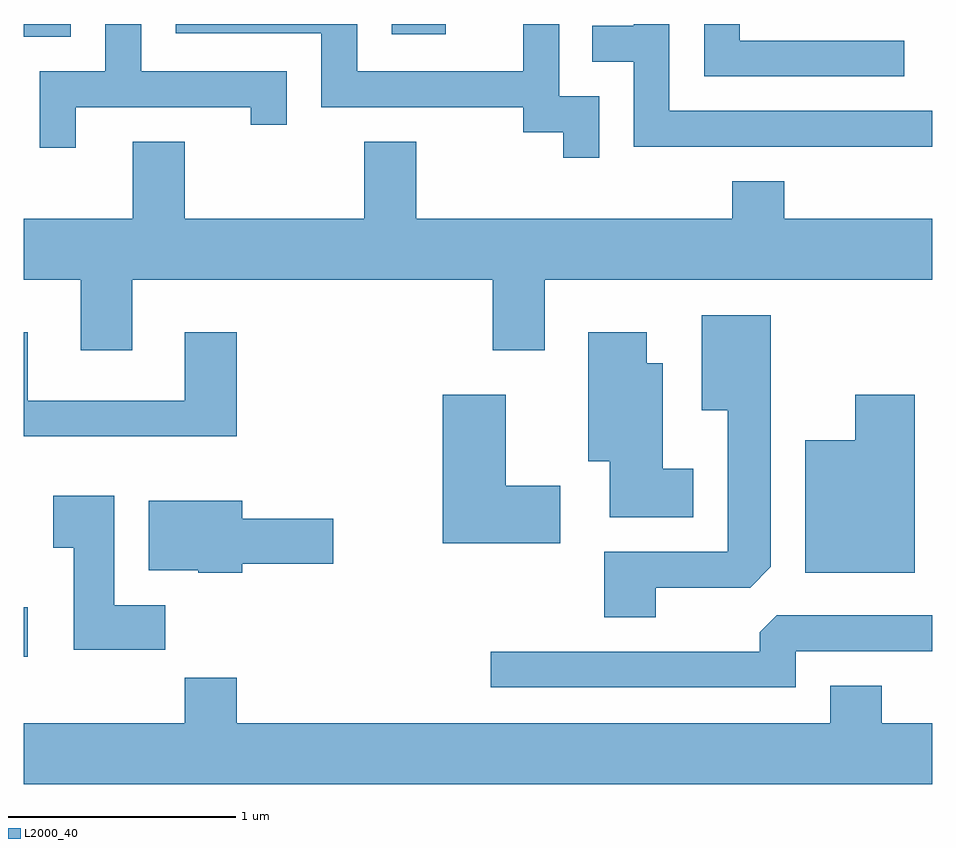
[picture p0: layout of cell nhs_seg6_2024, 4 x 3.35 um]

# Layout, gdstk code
import gdstk
lib = gdstk.Library(unit=1e-6, precision=1e-09)
def R(c, l, rs):  # rectangles x0, y0, x1, y1
    for r in rs: c.add(gdstk.rectangle(r[:2], r[2:], *l))
def P(c, l, *ps):  # polygons
    for p in ps: c.add(gdstk.Polygon(p, *l))
L2000_40 = (2000, 40)

nhs_seg6_2024 = lib.new_cell('nhs_seg6_2024')
R(nhs_seg6_2024, L2000_40, [(245.611,1659.376,245.629,1659.594), (245.611,1662.106,245.819,1662.162), (247.231,1662.116,247.468,1662.162)])
P(nhs_seg6_2024, L2000_40, [(248.144,1661.844),(247.969,1661.844),(247.969,1662.162),(247.811,1662.162),(247.811,1661.954),(247.079,1661.954),(247.079,1662.162),(246.281,1662.162),(246.281,1662.121),(246.921,1662.121),(246.921,1661.796),(247.811,1661.796),(247.811,1661.686),(247.986,1661.686),(247.986,1661.573),(248.144,1661.573)],
  [(249.488,1662.089),(248.764,1662.089),(248.764,1662.162),(248.606,1662.162),(248.606,1661.931),(249.488,1661.931)],
  [(245.839,1661.796),(246.611,1661.796),(246.611,1661.718),(246.769,1661.718),(246.769,1661.954),(246.129,1661.954),(246.129,1662.162),(245.971,1662.162),(245.971,1661.954),(245.681,1661.954),(245.681,1661.618),(245.839,1661.618)],
  [(249.611,1661.779),(248.454,1661.779),(248.454,1662.162),(248.296,1662.162),(248.296,1662.154),(248.113,1662.154),(248.113,1661.996),(248.296,1661.996),(248.296,1661.621),(249.611,1661.621)],
  [(246.089,1661.036),(247.676,1661.036),(247.676,1660.726),(247.904,1660.726),(247.904,1661.036),(249.611,1661.036),(249.611,1661.304),(248.959,1661.304),(248.959,1661.469),(248.731,1661.469),(248.731,1661.304),(247.339,1661.304),(247.339,1661.644),(247.111,1661.644),(247.111,1661.304),(246.319,1661.304),(246.319,1661.644),(246.091,1661.644),(246.091,1661.304),(245.611,1661.304),(245.611,1661.036),(245.861,1661.036),(245.861,1660.726),(246.089,1660.726)],
  [(248.394,1659.681),(248.809,1659.681),(248.899,1659.772),(248.899,1660.879),(248.596,1660.879),(248.596,1660.461),(248.711,1660.461),(248.711,1659.839),(248.166,1659.839),(248.166,1659.551),(248.394,1659.551)],
  [(246.549,1660.804),(246.321,1660.804),(246.321,1660.504),(245.629,1660.504),(245.629,1660.804),(245.611,1660.804),(245.611,1660.346),(246.549,1660.346)],
  [(248.559,1660.204),(248.424,1660.204),(248.424,1660.669),(248.354,1660.669),(248.354,1660.804),(248.096,1660.804),(248.096,1660.236),(248.191,1660.236),(248.191,1659.991),(248.559,1659.991)],
  [(247.974,1660.129),(247.734,1660.129),(247.734,1660.529),(247.456,1660.529),(247.456,1659.876),(247.974,1659.876)],
  [(249.534,1660.529),(249.271,1660.529),(249.271,1660.329),(249.051,1660.329),(249.051,1659.746),(249.534,1659.746)],
  [(246.234,1659.604),(246.009,1659.604),(246.009,1660.084),(245.741,1660.084),(245.741,1659.856),(245.831,1659.856),(245.831,1659.406),(246.234,1659.406)],
  [(246.574,1659.786),(246.974,1659.786),(246.974,1659.984),(246.574,1659.984),(246.574,1660.064),(246.161,1660.064),(246.161,1659.756),(246.38,1659.756),(246.38,1659.746),(246.574,1659.746)],
  [(249.009,1659.401),(249.611,1659.401),(249.611,1659.559),(248.927,1659.559),(248.851,1659.484),(248.851,1659.399),(247.668,1659.399),(247.668,1659.241),(249.009,1659.241)],
  [(249.611,1659.084),(249.389,1659.084),(249.389,1659.249),(249.161,1659.249),(249.161,1659.084),(246.549,1659.084),(246.549,1659.284),(246.321,1659.284),(246.321,1659.084),(245.611,1659.084),(245.611,1658.816),(249.611,1658.816)])

lib.write_gds('nhs_seg6_2024.gds')
